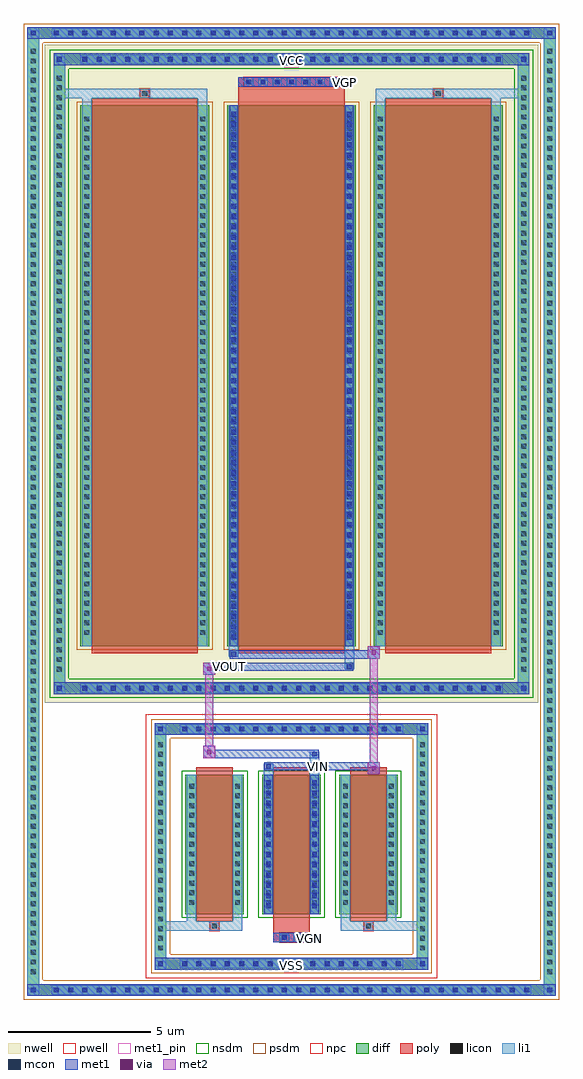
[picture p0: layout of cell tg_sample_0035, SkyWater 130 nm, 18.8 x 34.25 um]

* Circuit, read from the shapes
.subckt tg_sample_0035 VCC VGN VGP VIN VOUT VSS
XM1 VSS VSS VSS VSUBS sky130_fd_pr__nfet_01v8 w=4.9 l=1.28 m=2
XM2 VOUT VGN VIN VSUBS sky130_fd_pr__nfet_01v8 w=4.9 l=1.28
XM3 VCC VCC VCC n1 sky130_fd_pr__pfet_01v8 w=18.98 l=3.73 m=2
XM4 VOUT VGP VIN n1 sky130_fd_pr__pfet_01v8 w=18.98 l=3.73
.ends

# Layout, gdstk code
import gdstk
lib = gdstk.Library(unit=1e-6, precision=5e-09)
def R(c, l, rs):  # rectangles x0, y0, x1, y1
    for r in rs: c.add(gdstk.rectangle(r[:2], r[2:], *l))
def A(c, l, x, y, w, h, nx, ny, dx, dy):  # array of equal rectangles
    R(c, l, [(x+i*dx, y+j*dy, x+i*dx+w, y+j*dy+h) for i in range(nx) for j in range(ny)])
def P(c, l, *ps):  # polygons
    for p in ps: c.add(gdstk.Polygon(p, *l))
nwell = (64, 20)
pwell = (64, 44)
diff = (65, 20)
poly = (66, 20)
licon = (66, 44)
li1 = (67, 20)
mcon = (67, 44)
met1_pin = (68, 16)
met1 = (68, 20)
via = (68, 44)
met2 = (69, 20)
nsdm = (93, 44)
psdm = (94, 20)
npc = (95, 20)

tg_sample_0035 = lib.new_cell('tg_sample_0035')
R(tg_sample_0035, nwell, [(-8.66,5.035,8.66,28.135)])
R(tg_sample_0035, pwell, [(-5.11,-4.635,5.11,4.635)])
A(tg_sample_0035, diff, -8.455, -5.245, 0.41, 0.41, 34, 2, 0.5, 33.58)
A(tg_sample_0035, diff, -9.27, -4.605, 0.41, 0.41, 1, 96, 0, 0.34)
A(tg_sample_0035, diff, 8.86, -4.605, 0.41, 0.41, 1, 96, 0, 0.34)
A(tg_sample_0035, diff, -3.955, -4.325, 0.41, 0.41, 16, 2, 0.5, 8.24)
A(tg_sample_0035, diff, -4.8, -3.775, 0.41, 0.41, 1, 22, 0, 0.34)
A(tg_sample_0035, diff, 4.39, -3.775, 0.41, 0.41, 1, 22, 0, 0.34)
A(tg_sample_0035, diff, -3.73, -2.38, 2.06, 4.9, 3, 1, 2.7, 0)
A(tg_sample_0035, diff, -7.455, 5.345, 0.41, 0.41, 30, 2, 0.5, 22.07)
A(tg_sample_0035, diff, -8.35, 6.01, 0.41, 0.41, 1, 62, 0, 0.34)
A(tg_sample_0035, diff, 7.94, 6.01, 0.41, 0.41, 1, 62, 0, 0.34)
A(tg_sample_0035, diff, -7.405, 7.025, 4.51, 18.98, 3, 1, 5.15, 0)
R(tg_sample_0035, diff, [(-8.455,-5.245,8.455,-4.835), (-9.27,-4.605,-8.86,28.105), (8.86,-4.605,9.27,28.105), (-3.955,-4.325,3.955,-3.915), (-4.8,-3.775,-4.39,3.775), (4.39,-3.775,4.8,3.775), (-3.955,3.915,3.955,4.325), (-7.455,5.345,7.455,5.755), (-8.35,6.01,-7.94,27.16), (7.94,6.01,8.35,27.16), (-7.455,27.415,7.455,27.825), (-8.455,28.335,8.455,28.745)])
P(tg_sample_0035, diff, [(4.8,4.325),(-4.8,4.325),(-4.8,-3.915),(-4.39,-3.915),(-4.39,3.915),(4.39,3.915),(4.39,-3.915),(-4.39,-3.915),(-4.8,-3.915),(-4.8,-4.325),(4.8,-4.325)],
  [(9.27,28.745),(-9.27,28.745),(-9.27,-4.835),(-8.86,-4.835),(-8.86,28.335),(8.86,28.335),(8.86,-4.835),(-8.86,-4.835),(-9.27,-4.835),(-9.27,-5.245),(9.27,-5.245)],
  [(8.35,5.345),(-8.35,5.345),(-8.35,27.415),(-7.94,27.415),(-7.94,5.755),(7.94,5.755),(7.94,27.415),(-7.94,27.415),(-8.35,27.415),(-8.35,27.825),(8.35,27.825)])
A(tg_sample_0035, poly, -3.34, -2.63, 1.28, 5.4, 3, 1, 2.7, 0)
A(tg_sample_0035, poly, -7.015, 6.775, 3.73, 19.48, 3, 1, 5.15, 0)
A(tg_sample_0035, poly, -1.665, 26.655, 0.33, 0.33, 7, 1, 0.5, 0)
R(tg_sample_0035, poly, [(-0.64,-3.36,0.64,-3.03), (-0.415,-3.36,-0.085,-3.03), (0.085,-3.36,0.415,-3.03), (-0.64,-3.03,0.64,-2.63), (-2.865,-2.96,-2.535,-2.63), (-2.865,-2.96,-2.535,-2.63), (2.535,-2.96,2.865,-2.63), (2.535,-2.96,2.865,-2.63), (-5.315,26.255,-4.985,26.585), (-5.315,26.255,-4.985,26.585), (-1.865,26.255,1.865,26.655), (4.985,26.255,5.315,26.585), (4.985,26.255,5.315,26.585), (-1.865,26.655,1.865,26.985)])
A(tg_sample_0035, licon, -8.335, -5.125, 0.17, 0.17, 34, 2, 0.5, 33.58)
A(tg_sample_0035, licon, -9.15, -4.485, 0.17, 0.17, 1, 96, 0, 0.34)
A(tg_sample_0035, licon, 8.98, -4.485, 0.17, 0.17, 1, 96, 0, 0.34)
A(tg_sample_0035, licon, -3.835, -4.205, 0.17, 0.17, 16, 2, 0.5, 8.24)
A(tg_sample_0035, licon, -4.68, -3.655, 0.17, 0.17, 1, 22, 0, 0.34)
A(tg_sample_0035, licon, 4.51, -3.655, 0.17, 0.17, 1, 22, 0, 0.34)
A(tg_sample_0035, licon, -3.59, -2.055, 0.17, 0.17, 1, 13, 0, 0.34)
A(tg_sample_0035, licon, -1.98, -2.055, 0.17, 0.17, 1, 13, 0, 0.34)
A(tg_sample_0035, licon, -0.89, -2.055, 0.17, 0.17, 1, 13, 0, 0.34)
A(tg_sample_0035, licon, 0.72, -2.055, 0.17, 0.17, 1, 13, 0, 0.34)
A(tg_sample_0035, licon, 1.81, -2.055, 0.17, 0.17, 1, 13, 0, 0.34)
A(tg_sample_0035, licon, 3.42, -2.055, 0.17, 0.17, 1, 13, 0, 0.34)
A(tg_sample_0035, licon, -7.335, 5.465, 0.17, 0.17, 30, 2, 0.5, 22.07)
A(tg_sample_0035, licon, -8.23, 6.13, 0.17, 0.17, 1, 62, 0, 0.34)
A(tg_sample_0035, licon, 8.06, 6.13, 0.17, 0.17, 1, 62, 0, 0.34)
A(tg_sample_0035, licon, -7.265, 7.42, 0.17, 0.17, 1, 54, 0, 0.34)
A(tg_sample_0035, licon, -3.205, 7.42, 0.17, 0.17, 1, 54, 0, 0.34)
A(tg_sample_0035, licon, -2.115, 7.42, 0.17, 0.17, 1, 54, 0, 0.34)
A(tg_sample_0035, licon, 1.945, 7.42, 0.17, 0.17, 1, 54, 0, 0.34)
A(tg_sample_0035, licon, 3.035, 7.42, 0.17, 0.17, 1, 54, 0, 0.34)
A(tg_sample_0035, licon, 7.095, 7.42, 0.17, 0.17, 1, 54, 0, 0.34)
A(tg_sample_0035, licon, -1.585, 26.735, 0.17, 0.17, 7, 1, 0.5, 0)
R(tg_sample_0035, licon, [(-0.335,-3.28,-0.165,-3.11), (0.165,-3.28,0.335,-3.11), (-2.785,-2.88,-2.615,-2.71), (2.615,-2.88,2.785,-2.71), (-5.235,26.335,-5.065,26.505), (5.065,26.335,5.235,26.505)])
A(tg_sample_0035, li1, -8.415, -5.205, 0.33, 0.33, 34, 2, 0.5, 33.58)
A(tg_sample_0035, li1, -9.23, -4.565, 0.33, 0.33, 1, 96, 0, 0.34)
A(tg_sample_0035, li1, 8.9, -4.565, 0.33, 0.33, 1, 96, 0, 0.34)
A(tg_sample_0035, li1, -3.915, -4.285, 0.33, 0.33, 16, 2, 0.5, 8.24)
A(tg_sample_0035, li1, -4.76, -3.735, 0.33, 0.33, 1, 22, 0, 0.34)
A(tg_sample_0035, li1, 4.43, -3.735, 0.33, 0.33, 1, 22, 0, 0.34)
A(tg_sample_0035, li1, -0.89, -2.175, 0.17, 0.17, 1, 13, 0, 0.36)
A(tg_sample_0035, li1, 0.72, -2.175, 0.17, 0.17, 1, 13, 0, 0.36)
A(tg_sample_0035, li1, -3.67, -2.135, 0.33, 0.33, 1, 13, 0, 0.34)
A(tg_sample_0035, li1, -2.06, -2.135, 0.33, 0.33, 1, 13, 0, 0.34)
A(tg_sample_0035, li1, -0.97, -2.135, 0.33, 0.33, 1, 13, 0, 0.34)
A(tg_sample_0035, li1, 0.64, -2.135, 0.33, 0.33, 1, 13, 0, 0.34)
A(tg_sample_0035, li1, 1.73, -2.135, 0.33, 0.33, 1, 13, 0, 0.34)
A(tg_sample_0035, li1, 3.34, -2.135, 0.33, 0.33, 1, 13, 0, 0.34)
A(tg_sample_0035, li1, -7.415, 5.385, 0.33, 0.33, 30, 2, 0.5, 22.07)
A(tg_sample_0035, li1, -8.31, 6.05, 0.33, 0.33, 1, 62, 0, 0.34)
A(tg_sample_0035, li1, 7.98, 6.05, 0.33, 0.33, 1, 62, 0, 0.34)
A(tg_sample_0035, li1, -2.115, 7.25, 0.17, 0.17, 1, 52, 0, 0.36)
A(tg_sample_0035, li1, 1.945, 7.25, 0.17, 0.17, 1, 52, 0, 0.36)
A(tg_sample_0035, li1, -7.345, 7.34, 0.33, 0.33, 1, 54, 0, 0.34)
A(tg_sample_0035, li1, -3.285, 7.34, 0.33, 0.33, 1, 54, 0, 0.34)
A(tg_sample_0035, li1, -2.195, 7.34, 0.33, 0.33, 1, 54, 0, 0.34)
A(tg_sample_0035, li1, 1.865, 7.34, 0.33, 0.33, 1, 54, 0, 0.34)
A(tg_sample_0035, li1, 2.955, 7.34, 0.33, 0.33, 1, 54, 0, 0.34)
A(tg_sample_0035, li1, 7.015, 7.34, 0.33, 0.33, 1, 54, 0, 0.34)
A(tg_sample_0035, li1, -1.665, 26.655, 0.33, 0.33, 7, 1, 0.5, 0)
R(tg_sample_0035, li1, [(-9.27,-5.245,-8.86,-4.835), (8.86,-5.245,9.27,-4.835), (-8.415,-5.205,8.415,-4.875), (-9.15,-5.125,-8.98,-4.955), (-9.15,-5.125,-8.98,-4.955), (8.98,-5.125,9.15,-4.955), (8.98,-5.125,9.15,-4.955), (-9.27,-4.835,-8.86,28.335), (8.86,-4.835,9.27,28.335), (-4.8,-4.325,-4.39,-3.915), (4.39,-4.325,4.8,-3.915), (-3.915,-4.285,3.915,-3.955), (-4.68,-4.205,-4.51,-4.035), (-4.68,-4.205,-4.51,-4.035), (4.51,-4.205,4.68,-4.035), (4.51,-4.205,4.68,-4.035), (-4.8,-3.915,-4.39,3.915), (4.39,-3.915,4.8,3.915), (-0.415,-3.36,-0.085,-3.03), (0.085,-3.36,0.415,-3.03), (-4.8,-2.96,-2.865,-2.63), (-3.67,-2.96,-2.865,-2.63), (-3.67,-2.96,-3.34,-2.38), (-2.865,-2.96,-2.535,-2.63), (-2.535,-2.96,-1.73,-2.63), (-2.06,-2.96,-1.73,-2.38), (1.73,-2.96,2.535,-2.63), (1.73,-2.96,2.06,-2.38), (2.535,-2.96,2.865,-2.63), (2.535,-2.96,4.8,-2.63), (2.865,-2.96,3.67,-2.63), (3.34,-2.96,3.67,-2.38), (-3.67,-2.38,-3.34,2.52), (-2.06,-2.38,-1.73,2.52), (-0.97,-2.38,-0.64,2.52), (0.64,-2.38,0.97,2.52), (1.73,-2.38,2.06,2.52), (3.34,-2.38,3.67,2.52), (-0.89,-2.175,-0.72,2.315), (0.72,-2.175,0.89,2.315), (-0.97,2.52,-0.64,2.895), (0.64,2.52,0.97,3.325), (-0.89,2.725,-0.72,2.895), (0.72,3.155,0.89,3.325), (-4.8,3.915,-4.39,4.325), (4.39,3.915,4.8,4.325), (-3.915,3.955,3.915,4.285), (-4.68,4.035,-4.51,4.205), (-4.68,4.035,-4.51,4.205), (4.51,4.035,4.68,4.205), (4.51,4.035,4.68,4.205), (-8.35,5.345,-7.94,5.755), (7.94,5.345,8.35,5.755), (-7.415,5.385,7.415,5.715), (-8.23,5.465,-8.06,5.635), (-8.23,5.465,-8.06,5.635), (8.06,5.465,8.23,5.635), (8.06,5.465,8.23,5.635), (-8.35,5.755,-7.94,27.415), (7.94,5.755,8.35,27.415), (1.865,6.22,2.195,7.025), (1.945,6.22,2.115,6.39), (-2.195,6.65,-1.865,7.025), (-2.115,6.65,-1.945,6.82), (-7.345,7.025,-7.015,26.005), (-3.285,7.025,-2.955,26.005), (-2.195,7.025,-1.865,26.005), (1.865,7.025,2.195,26.005), (2.955,7.025,3.285,26.005), (7.015,7.025,7.345,26.005), (-2.115,7.25,-1.945,25.78), (1.945,7.25,2.115,25.78), (-7.345,26.005,-7.015,26.585), (-3.285,26.005,-2.955,26.585), (2.955,26.005,3.285,26.585), (7.015,26.005,7.345,26.585), (-8.35,26.255,-5.315,26.585), (-7.345,26.255,-5.315,26.585), (-5.315,26.255,-4.985,26.585), (-4.985,26.255,-2.955,26.585), (2.955,26.255,4.985,26.585), (4.985,26.255,5.315,26.585), (4.985,26.255,8.35,26.585), (5.315,26.255,7.345,26.585), (-8.35,27.415,-7.94,27.825), (7.94,27.415,8.35,27.825), (-7.415,27.455,7.415,27.785), (-8.23,27.535,-8.06,27.705), (-8.23,27.535,-8.06,27.705), (8.06,27.535,8.23,27.705), (8.06,27.535,8.23,27.705), (-9.27,28.335,-8.86,28.745), (8.86,28.335,9.27,28.745), (-8.415,28.375,8.415,28.705), (-9.15,28.455,-8.98,28.625), (-9.15,28.455,-8.98,28.625), (8.98,28.455,9.15,28.625), (8.98,28.455,9.15,28.625)])
A(tg_sample_0035, mcon, -8.335, -5.125, 0.17, 0.17, 34, 2, 0.5, 33.58)
A(tg_sample_0035, mcon, -3.835, -4.205, 0.17, 0.17, 16, 2, 0.5, 8.24)
A(tg_sample_0035, mcon, -0.89, -2.175, 0.17, 0.17, 1, 13, 0, 0.36)
A(tg_sample_0035, mcon, 0.72, -2.175, 0.17, 0.17, 1, 13, 0, 0.36)
A(tg_sample_0035, mcon, -7.335, 5.465, 0.17, 0.17, 30, 2, 0.5, 22.07)
A(tg_sample_0035, mcon, -2.115, 7.25, 0.17, 0.17, 1, 52, 0, 0.36)
A(tg_sample_0035, mcon, 1.945, 7.25, 0.17, 0.17, 1, 52, 0, 0.36)
A(tg_sample_0035, mcon, -1.585, 26.735, 0.17, 0.17, 7, 1, 0.5, 0)
R(tg_sample_0035, mcon, [(-9.15,-5.125,-8.98,-4.955), (8.98,-5.125,9.15,-4.955), (-4.68,-4.205,-4.51,-4.035), (4.51,-4.205,4.68,-4.035), (-0.335,-3.28,-0.165,-3.11), (0.165,-3.28,0.335,-3.11), (-0.89,2.725,-0.72,2.895), (0.72,3.155,0.89,3.325), (-4.68,4.035,-4.51,4.205), (4.51,4.035,4.68,4.205), (-8.23,5.465,-8.06,5.635), (8.06,5.465,8.23,5.635), (1.945,6.22,2.115,6.39), (-2.115,6.65,-1.945,6.82), (-8.23,27.535,-8.06,27.705), (8.06,27.535,8.23,27.705), (-9.15,28.455,-8.98,28.625), (8.98,28.455,9.15,28.625)])
R(tg_sample_0035, met1_pin, [(-0.25,-4.415,0.25,-3.915), (0.505,-3.36,0.775,-3.09), (0.815,2.665,1.085,2.935), (-2.31,6.16,-2.04,6.43), (1.73,26.655,2,26.925), (-0.25,27.325,0.25,27.825)])
A(tg_sample_0035, met1, -8.395, -5.185, 0.29, 0.29, 34, 2, 0.5, 33.58)
A(tg_sample_0035, met1, -3.895, -4.265, 0.29, 0.29, 16, 2, 0.5, 8.24)
A(tg_sample_0035, met1, -0.95, -2.235, 0.29, 0.29, 1, 13, 0, 0.36)
A(tg_sample_0035, met1, 0.66, -2.235, 0.29, 0.29, 1, 13, 0, 0.36)
A(tg_sample_0035, met1, -7.395, 5.405, 0.29, 0.29, 30, 2, 0.5, 22.07)
A(tg_sample_0035, met1, -2.175, 7.19, 0.29, 0.29, 1, 52, 0, 0.36)
A(tg_sample_0035, met1, 1.885, 7.19, 0.29, 0.29, 1, 52, 0, 0.36)
A(tg_sample_0035, met1, -1.645, 26.675, 0.29, 0.29, 7, 1, 0.5, 0)
R(tg_sample_0035, met1, [(-9.27,-5.245,-8.86,-4.835), (-9.27,-5.245,-8.86,-4.835), (-8.86,-5.245,8.86,-4.835), (8.86,-5.245,9.27,-4.835), (8.86,-5.245,9.27,-4.835), (-9.21,-5.185,-8.92,-4.895), (8.92,-5.185,9.21,-4.895), (-4.8,-4.325,-4.39,-3.915), (-4.8,-4.325,-4.39,-3.915), (-4.39,-4.325,4.39,-3.915), (4.39,-4.325,4.8,-3.915), (4.39,-4.325,4.8,-3.915), (-4.74,-4.265,-4.45,-3.975), (4.45,-4.265,4.74,-3.975), (-0.64,-3.36,0.64,-3.03), (-0.395,-3.34,-0.105,-3.05), (0.105,-3.34,0.395,-3.05), (-0.95,-2.38,-0.66,2.52), (0.66,-2.38,0.95,2.52), (2.675,2.525,3.105,2.955), (-0.95,2.665,-0.66,2.955), (-0.95,2.665,0.95,2.955), (0.95,2.665,3.105,2.955), (-3.105,3.095,-0.95,3.385), (-3.105,3.095,-2.675,3.525), (-0.95,3.095,0.95,3.385), (0.66,3.095,0.95,3.385), (-4.8,3.915,-4.39,4.325), (-4.8,3.915,-4.39,4.325), (-4.39,3.915,4.39,4.325), (4.39,3.915,4.8,4.325), (4.39,3.915,4.8,4.325), (-4.74,3.975,-4.45,4.265), (4.45,3.975,4.74,4.265), (-8.35,5.345,-7.94,5.755), (-8.35,5.345,-7.94,5.755), (-7.94,5.345,7.94,5.755), (7.94,5.345,8.35,5.755), (7.94,5.345,8.35,5.755), (-8.29,5.405,-8,5.695), (8,5.405,8.29,5.695), (-3.105,6.02,-2.675,6.45), (-3.105,6.16,-2.175,6.45), (-2.175,6.16,2.175,6.45), (1.885,6.16,2.175,6.45), (-2.175,6.59,-1.885,6.88), (-2.175,6.59,2.175,6.88), (2.175,6.59,3.105,6.88), (2.675,6.59,3.105,7.02), (-2.175,7.025,-1.885,26.005), (1.885,7.025,2.175,26.005), (-1.865,26.655,1.865,26.985), (-8.35,27.415,-7.94,27.825), (-8.35,27.415,-7.94,27.825), (-7.94,27.415,7.94,27.825), (7.94,27.415,8.35,27.825), (7.94,27.415,8.35,27.825), (-8.29,27.475,-8,27.765), (8,27.475,8.29,27.765), (-9.27,28.335,-8.86,28.745), (-9.27,28.335,-8.86,28.745), (-8.86,28.335,8.86,28.745), (8.86,28.335,9.27,28.745), (8.86,28.335,9.27,28.745), (-9.21,28.395,-8.92,28.685), (8.92,28.395,9.21,28.685)])
R(tg_sample_0035, via, [(2.815,2.665,2.965,2.815), (-2.965,3.235,-2.815,3.385), (-2.965,6.16,-2.815,6.31), (2.815,6.73,2.965,6.88)])
R(tg_sample_0035, met2, [(2.675,2.525,3.105,2.955), (2.745,2.525,3.035,7.02), (3.035,2.525,3.105,2.955), (2.725,2.575,3.055,2.905), (-3.105,3.095,-2.675,3.525), (-3.035,3.095,-2.745,6.45), (-2.745,3.095,-2.675,3.525), (-3.055,3.145,-2.725,3.475), (-3.105,6.02,-2.675,6.45), (-2.745,6.02,-2.675,6.45), (-3.055,6.07,-2.725,6.4), (2.675,6.59,3.105,7.02), (3.035,6.59,3.105,7.02), (2.725,6.64,3.055,6.97)])
A(tg_sample_0035, nsdm, -3.86, -2.51, 2.32, 5.16, 3, 1, 2.7, 0)
P(tg_sample_0035, nsdm, [(8.48,5.215),(-8.48,5.215),(-8.48,27.285),(-7.81,27.285),(-7.81,5.885),(7.81,5.885),(7.81,27.285),(-7.81,27.285),(-8.48,27.285),(-8.48,27.955),(8.48,27.955)])
A(tg_sample_0035, psdm, -7.535, 6.895, 4.77, 19.24, 3, 1, 5.15, 0)
P(tg_sample_0035, psdm, [(4.93,4.455),(-4.93,4.455),(-4.93,-3.785),(-4.26,-3.785),(-4.26,3.785),(4.26,3.785),(4.26,-3.785),(-4.26,-3.785),(-4.93,-3.785),(-4.93,-4.455),(4.93,-4.455)],
  [(9.4,28.875),(-9.4,28.875),(-9.4,-4.705),(-8.73,-4.705),(-8.73,28.205),(8.73,28.205),(8.73,-4.705),(-8.73,-4.705),(-9.4,-4.705),(-9.4,-5.375),(9.4,-5.375)])
A(tg_sample_0035, npc, -1.685, 26.635, 0.37, 0.37, 7, 1, 0.5, 0)
R(tg_sample_0035, npc, [(-0.435,-3.38,-0.065,-3.01), (-0.435,-3.38,0.435,-3.01), (-0.435,-3.38,0.435,-3.01), (0.065,-3.38,0.435,-3.01), (-2.885,-2.98,-2.515,-2.61), (2.515,-2.98,2.885,-2.61), (-5.335,26.235,-4.965,26.605), (4.965,26.235,5.335,26.605), (-1.685,26.635,-0.815,27.005), (-1.685,26.635,-0.815,27.005), (-1.185,26.635,-0.315,27.005), (-1.185,26.635,-0.315,27.005), (-0.685,26.635,0.185,27.005), (-0.685,26.635,0.185,27.005), (-0.185,26.635,0.685,27.005), (-0.185,26.635,0.685,27.005), (0.315,26.635,1.185,27.005), (0.315,26.635,1.185,27.005), (0.815,26.635,1.685,27.005), (0.815,26.635,1.685,27.005)])
tg_sample_0035.add(gdstk.Label('VIN', (0.95,2.8), layer=68, texttype=5))
tg_sample_0035.add(gdstk.Label('VGN', (0.64,-3.225), layer=68, texttype=5))
tg_sample_0035.add(gdstk.Label('VGP', (1.865,26.79), layer=68, texttype=5))
tg_sample_0035.add(gdstk.Label('VSS', (0,-4.165), layer=68, texttype=5))
tg_sample_0035.add(gdstk.Label('VCC', (0,27.575), layer=68, texttype=5))
tg_sample_0035.add(gdstk.Label('VOUT', (-2.175,6.295), layer=68, texttype=5))

lib.write_gds('tg_sample_0035.gds')
